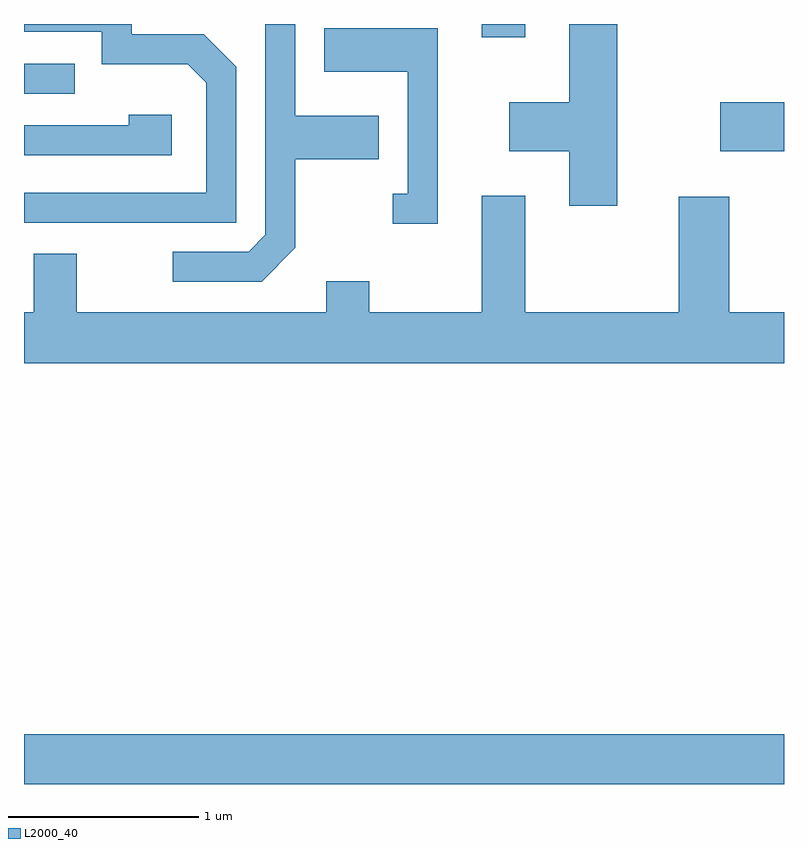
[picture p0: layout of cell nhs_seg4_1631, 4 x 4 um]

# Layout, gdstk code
import gdstk
lib = gdstk.Library(unit=1e-6, precision=1e-09)
def R(c, l, rs):  # rectangles x0, y0, x1, y1
    for r in rs: c.add(gdstk.rectangle(r[:2], r[2:], *l))
def P(c, l, *ps):  # polygons
    for p in ps: c.add(gdstk.Polygon(p, *l))
L2000_40 = (2000, 40)

nhs_seg4_1631 = lib.new_cell('nhs_seg4_1631')
R(nhs_seg4_1631, L2000_40, [(231.611,1387.982,235.611,1388.244), (235.276,1391.311,235.611,1391.569), (231.611,1391.616,231.878,1391.774), (234.021,1391.911,234.249,1391.982)])
P(nhs_seg4_1631, L2000_40, [(234.734,1391.982),(234.481,1391.982),(234.481,1391.569),(234.166,1391.569),(234.166,1391.311),(234.481,1391.311),(234.481,1391.026),(234.734,1391.026)],
  [(232.729,1391.757),(232.557,1391.929),(232.179,1391.929),(232.179,1391.982),(231.611,1391.982),(231.611,1391.941),(232.021,1391.941),(232.021,1391.771),(232.474,1391.771),(232.571,1391.674),(232.571,1391.094),(231.611,1391.094),(231.611,1390.936),(232.729,1390.936)],
  [(233.039,1390.804),(233.039,1391.271),(233.479,1391.271),(233.479,1391.499),(233.039,1391.499),(233.039,1391.982),(232.881,1391.982),(232.881,1390.872),(232.794,1390.784),(232.393,1390.784),(232.393,1390.626),(232.862,1390.626)],
  [(233.789,1391.959),(233.191,1391.959),(233.191,1391.731),(233.631,1391.731),(233.631,1391.089),(233.553,1391.089),(233.553,1390.931),(233.789,1390.931)],
  [(232.389,1391.504),(232.161,1391.504),(232.161,1391.449),(231.611,1391.449),(231.611,1391.291),(232.389,1391.291)],
  [(235.611,1390.464),(235.324,1390.464),(235.324,1391.074),(235.056,1391.074),(235.056,1390.464),(234.249,1390.464),(234.249,1391.079),(234.021,1391.079),(234.021,1390.464),(233.429,1390.464),(233.429,1390.629),(233.201,1390.629),(233.201,1390.464),(231.889,1390.464),(231.889,1390.774),(231.661,1390.774),(231.661,1390.464),(231.611,1390.464),(231.611,1390.196),(235.611,1390.196)])

lib.write_gds('nhs_seg4_1631.gds')
